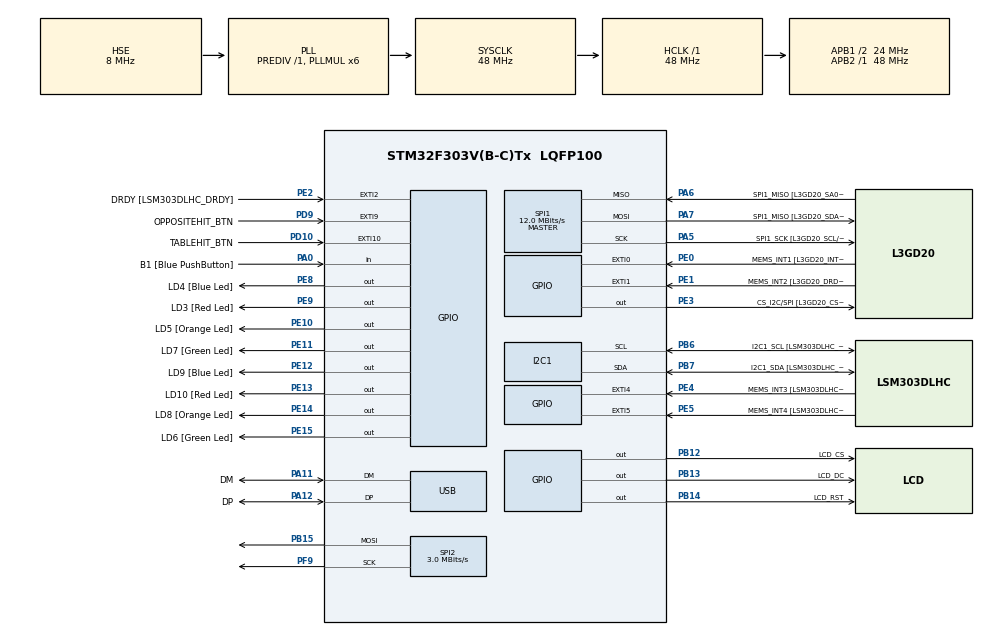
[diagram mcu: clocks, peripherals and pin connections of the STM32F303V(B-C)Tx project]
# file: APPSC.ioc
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Mcu.Family=STM32F3
Mcu.Name=STM32F303V(B-C)Tx
Mcu.Package=LQFP100
NVIC.EXTI15_10_IRQn=true\:0\:0\:false\:false\:true\:true\:true\:true
NVIC.EXTI9_5_IRQn=true\:0\:0\:false\:false\:true\:true\:true\:true
NVIC.PriorityGroup=NVIC_PRIORITYGROUP_0
NVIC.TIM1_BRK_TIM15_IRQn=true\:0\:0\:false\:false\:true\:true\:true\:true
NVIC.TIM1_CC_IRQn=true\:0\:0\:false\:false\:true\:true\:true\:true
NVIC.TIM1_TRG_COM_TIM17_IRQn=true\:0\:0\:false\:false\:true\:true\:true\:true
NVIC.TIM1_UP_TIM16_IRQn=true\:0\:0\:false\:false\:true\:true\:true\:true
PA0.GPIO_Label=B1 [Blue PushButton]
PA0.Signal=GPIO_Input
PA11.GPIO_Label=DM
PA11.Mode=Device
PA11.Signal=USB_DM
PA12.GPIO_Label=DP
PA12.Mode=Device
PA12.Signal=USB_DP
PA13.GPIO_Label=SWDIO
PA13.Mode=Serial_Wire
PA13.Signal=SYS_JTMS-SWDIO
PA14.GPIO_Label=SWCLK
PA14.Mode=Serial_Wire
PA14.Signal=SYS_JTCK-SWCLK
PA5.GPIO_Label=SPI1_SCK [L3GD20_SCL/SPC]
PA5.Mode=Full_Duplex_Master
PA5.Signal=SPI1_SCK
PA6.GPIO_Label=SPI1_MISO [L3GD20_SA0/SDO]
PA6.Mode=Full_Duplex_Master
PA6.Signal=SPI1_MISO
PA7.GPIO_Label=SPI1_MISO [L3GD20_SDA/SDI/SDO]
PA7.Mode=Full_Duplex_Master
PA7.Signal=SPI1_MOSI
PB12.GPIO_Label=LCD_CS
PB12.Signal=GPIO_Output
PB13.GPIO_Label=LCD_DC
PB13.Signal=GPIO_Output
PB14.GPIO_Label=LCD_RST
PB14.Signal=GPIO_Output
PB15.Mode=TX_Only_Simplex_Unidirect_Master
PB15.Signal=SPI2_MOSI
PB3.GPIO_Label=SWO
PB3.Signal=SYS_JTDO-TRACESWO
PB6.GPIO_Label=I2C1_SCL [LSM303DLHC_SCL]
PB6.GPIO_Pu=GPIO_PULLUP
PB6.Mode=I2C
PB6.Signal=I2C1_SCL
PB7.GPIO_Label=I2C1_SDA [LSM303DLHC_SDA]
PB7.GPIO_Pu=GPIO_PULLUP
PB7.Mode=I2C
PB7.Signal=I2C1_SDA
PC14-OSC32_IN.GPIO_Label=OSC32_IN
PC14-OSC32_IN.Signal=RCC_OSC32_IN
PC15-OSC32_OUT.GPIO_Label=OSC32_OUT
PC15-OSC32_OUT.Signal=RCC_OSC32_OUT
PD10.GPIO_Label=TABLEHIT_BTN
PD10.GPIO_ModeDefaultEXTI=GPIO_MODE_IT_FALLING
PD10.GPIO_PuPd=GPIO_PULLUP
PD10.Signal=GPXTI10
PD9.GPIO_Label=OPPOSITEHIT_BTN
PD9.GPIO_ModeDefaultEXTI=GPIO_MODE_IT_FALLING
PD9.GPIO_PuPd=GPIO_PULLUP
PD9.Signal=GPXTI9
PE0.GPIO_Label=MEMS_INT1 [L3GD20_INT1]
PE0.GPIO_ModeDefaultEXTI=GPIO_MODE_EVT_RISING
PE0.Signal=GPXTI0
PE1.GPIO_Label=MEMS_INT2 [L3GD20_DRDY/INT2]
PE1.GPIO_ModeDefaultEXTI=GPIO_MODE_EVT_RISING
PE1.Signal=GPXTI1
PE10.GPIO_Label=LD5 [Orange Led]
PE10.Signal=GPIO_Output
PE11.GPIO_Label=LD7 [Green Led]
PE11.Signal=GPIO_Output
PE12.GPIO_Label=LD9 [Blue Led]
PE12.Signal=GPIO_Output
PE13.GPIO_Label=LD10 [Red Led]
PE13.Signal=GPIO_Output
PE14.GPIO_Label=LD8 [Orange Led]
PE14.Signal=GPIO_Output
PE15.GPIO_Label=LD6 [Green Led]
PE15.Signal=GPIO_Output
PE2.GPIO_Label=DRDY [LSM303DLHC_DRDY]
PE2.GPIO_ModeDefaultEXTI=GPIO_MODE_EVT_RISING
PE2.Signal=GPXTI2
PE3.GPIO_Label=CS_I2C/SPI [L3GD20_CS_I2C/SPI]
PE3.Signal=GPIO_Output
PE4.GPIO_Label=MEMS_INT3 [LSM303DLHC_INT1]
PE4.GPIO_ModeDefaultEXTI=GPIO_MODE_EVT_RISING
PE4.Signal=GPXTI4
PE5.GPIO_Label=MEMS_INT4 [LSM303DLHC_INT2]
PE5.GPIO_ModeDefaultEXTI=GPIO_MODE_EVT_RISING
PE5.Signal=GPXTI5
PE8.GPIO_Label=LD4 [Blue Led]
PE8.Signal=GPIO_Output
PE9.GPIO_Label=LD3 [Red Led]
PE9.Signal=GPIO_Output
PF0-OSC_IN.GPIO_Label=OSC_IN
PF0-OSC_IN.Mode=HSE-External-Oscillator
PF0-OSC_IN.Signal=RCC_OSC_IN
PF1-OSC_OUT.GPIO_Label=OSC_OUT
PF1-OSC_OUT.Mode=HSE-External-Oscillator
PF1-OSC_OUT.Signal=RCC_OSC_OUT
PF9.Mode=TX_Only_Simplex_Unidirect_Master
PF9.Signal=SPI2_SCK
ProjectManager.HeapSize=0x200
ProjectManager.StackSize=0x400
ProjectManager.TargetToolchain=STM32CubeIDE
RCC.AHBFreq_Value=48000000
RCC.APB1CLKDivider=RCC_HCLK_DIV2
RCC.APB1Freq_Value=24000000
RCC.APB1TimFreq_Value=48000000
RCC.APB2Freq_Value=48000000
RCC.APB2TimFreq_Value=48000000
RCC.CortexFreq_Value=48000000
RCC.HCLKFreq_Value=48000000
RCC.HSE_VALUE=8000000
RCC.HSI_VALUE=8000000
RCC.LSE_VALUE=32768
RCC.PLLMUL=RCC_PLL_MUL6
RCC.SYSCLKFreq_VALUE=48000000
RCC.SYSCLKSourceVirtual=RCC_SYSCLKSOURCE_PLLCLK
RCC.USBFreq_Value=48000000
SPI1.BaudRatePrescaler=SPI_BAUDRATEPRESCALER_4
SPI1.CalculateBaudRate=12.0 MBits/s
SPI1.Direction=SPI_DIRECTION_2LINES
SPI1.Mode=SPI_MODE_MASTER
SPI1.VirtualType=VM_MASTER
SPI2.BaudRatePrescaler=SPI_BAUDRATEPRESCALER_8
SPI2.CalculateBaudRate=3.0 MBits/s
SPI2.DataSize=SPI_DATASIZE_8BIT
SPI2.Direction=SPI_DIRECTION_2LINES
SPI2.Mode=SPI_MODE_MASTER
SPI2.VirtualType=VM_MASTER
TIM1.Period=100
TIM1.Prescaler=30999
VP_TIM1_VS_ClockSourceINT.Mode=Internal
board=STM32F3DISCOVERY

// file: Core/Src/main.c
/* USER CODE BEGIN Header */
/**
 ******************************************************************************
 * @file           : main.c
 * @brief          : Main program body
 ******************************************************************************
 * @attention
 *
 * <h2><center>&copy; Copyright (c) 2019 STMicroelectronics.
 * All rights reserved.</center></h2>
 *
 * This software component is licensed by ST under BSD 3-Clause license,
 * the "License"; You may not use this file except in compliance with the
 * License. You may obtain a copy of the License at:
 *                        opensource.org/licenses/BSD-3-Clause
 *
 ******************************************************************************
 */
/* USER CODE END Header */
#include "main.h"
#include "i2c.h"
#include "spi.h"
#include "tim.h"
#include "usb.h"
#include "gpio.h"

/* USER CODE BEGIN Includes */
#include "lcd5110.h"
#include "stdbool.h"
/* USER CODE END Includes */

/* USER CODE BEGIN PTD */
typedef enum state_t {
	START, R_SERVE, L_SERVE, R_WAIT, L_WAIT, R_TURN, L_TURN, UNSURE, END
} state_t;
/* USER CODE END PTD */

/* USER CODE BEGIN PV */
volatile state_t state = START;
volatile state_t server;
volatile uint8_t l_score = 0;
volatile uint8_t r_score = 0;
volatile bool listening = true;
volatile bool deuce = false;
LCD5110_display lcd1;
/* USER CODE END PV */

void SystemClock_Config(void);

/* USER CODE BEGIN 0 */
void print_score(LCD5110_display *lcd_conf) {
	LCD5110_clear_scr(lcd_conf);
	LCD5110_set_cursor(1, 22, lcd_conf);
	LCD5110_printf(lcd_conf, BLACK, "L:%u", l_score);
	LCD5110_set_cursor(60, 22, lcd_conf);
	LCD5110_printf(lcd_conf, BLACK, "R:%u", r_score);
	if (deuce) {
		LCD5110_set_cursor(1, 40, lcd_conf);
		LCD5110_print("DEUCE", BLACK, lcd_conf);
	}
	LCD5110_refresh(lcd_conf);
}
void print_score_text(LCD5110_display *lcd_conf, const char *str) {
	print_score(lcd_conf);
	LCD5110_set_cursor(1, 40, lcd_conf);
	LCD5110_print(str, BLACK, lcd_conf);
	LCD5110_refresh(lcd_conf);
}

void update_score(state_t winner) {
	if (winner == L_SERVE) {
		l_score++;
		if (r_score == 10 && l_score == 10) {
			deuce = true;
		} else if ((l_score == 11 && !deuce)
				|| (l_score - r_score > 1 && deuce)) {
			print_score_text(&lcd1, "LEFT WON!");
			state = END;
		} else {
			print_score(&lcd1);
			if (((l_score + r_score) % 2 == 0 && !deuce) || deuce) {
				state = (server == R_SERVE) ? L_SERVE : R_SERVE;
			} else {
				state = server;
			}
			server = state;
		}
	} else if (winner == R_SERVE) {
		r_score++;
		if (r_score == 10 && l_score == 10) {
			deuce = true;
		} else if ((r_score == 11 && !deuce)
				|| (r_score - l_score > 1 && deuce)) {
			print_score_text(&lcd1, "RIGHT WON!");
			state = END;
		} else {
			print_score(&lcd1);
			if (((l_score + r_score) % 2 == 0 && !deuce) || deuce) {
				state = (server == R_SERVE) ? L_SERVE : R_SERVE;
			} else {
				state = server;
			}
			server = state;
		}
	}
}
/* USER CODE END 0 */

int main(void) {

	/* MCU Configuration--------------------------------------------------------*/

	/* Reset of all peripherals, Initializes the Flash interface and the Systick. */
	HAL_Init();

	/* Configure the system clock */
	SystemClock_Config();

	/* Initialize all configured peripherals */
	MX_GPIO_Init();
	MX_I2C1_Init();
	MX_SPI1_Init();
	MX_USB_PCD_Init();
	MX_SPI2_Init();
	MX_TIM1_Init();
	/* USER CODE BEGIN 2 */
	lcd1.hw_conf.spi_handle = &hspi2;
	lcd1.hw_conf.spi_cs_pin = LCD_CS_Pin;
	lcd1.hw_conf.spi_cs_port = LCD_CS_GPIO_Port;
	lcd1.hw_conf.rst_pin = LCD_RST_Pin;
	lcd1.hw_conf.rst_port = LCD_RST_GPIO_Port;
	lcd1.hw_conf.dc_pin = LCD_DC_Pin;
	lcd1.hw_conf.dc_port = LCD_DC_GPIO_Port;
	lcd1.def_scr = lcd5110_def_scr;
	LCD5110_init(&lcd1.hw_conf, LCD5110_NORMAL_MODE, 0x40, 2, 3);

	print_score_text(&lcd1, "SELECT PLAYER (L/R)\n");
	/* USER CODE END 2 */

	/* Infinite loop */
	while (1) {

	}
}

void SystemClock_Config(void) {
	RCC_OscInitTypeDef RCC_OscInitStruct = { 0 };
	RCC_ClkInitTypeDef RCC_ClkInitStruct = { 0 };
	RCC_PeriphCLKInitTypeDef PeriphClkInit = { 0 };

	/** Initializes the RCC Oscillators according to the specified parameters
	 * in the RCC_OscInitTypeDef structure.
	 */
	RCC_OscInitStruct.OscillatorType = RCC_OSCILLATORTYPE_HSI
			| RCC_OSCILLATORTYPE_HSE;
	RCC_OscInitStruct.HSEState = RCC_HSE_ON;
	RCC_OscInitStruct.HSEPredivValue = RCC_HSE_PREDIV_DIV1;
	RCC_OscInitStruct.HSIState = RCC_HSI_ON;
	RCC_OscInitStruct.HSICalibrationValue = RCC_HSICALIBRATION_DEFAULT;
	RCC_OscInitStruct.PLL.PLLState = RCC_PLL_ON;
	RCC_OscInitStruct.PLL.PLLSource = RCC_PLLSOURCE_HSE;
	RCC_OscInitStruct.PLL.PLLMUL = RCC_PLL_MUL6;
	if (HAL_RCC_OscConfig(&RCC_OscInitStruct) != HAL_OK) {
		Error_Handler();
	}

	/** Initializes the CPU, AHB and APB buses clocks
	 */
	RCC_ClkInitStruct.ClockType = RCC_CLOCKTYPE_HCLK | RCC_CLOCKTYPE_SYSCLK
			| RCC_CLOCKTYPE_PCLK1 | RCC_CLOCKTYPE_PCLK2;
	RCC_ClkInitStruct.SYSCLKSource = RCC_SYSCLKSOURCE_PLLCLK;
	RCC_ClkInitStruct.AHBCLKDivider = RCC_SYSCLK_DIV1;
	RCC_ClkInitStruct.APB1CLKDivider = RCC_HCLK_DIV2;
	RCC_ClkInitStruct.APB2CLKDivider = RCC_HCLK_DIV1;

	if (HAL_RCC_ClockConfig(&RCC_ClkInitStruct, FLASH_LATENCY_1) != HAL_OK) {
		Error_Handler();
	}
	PeriphClkInit.PeriphClockSelection = RCC_PERIPHCLK_USB | RCC_PERIPHCLK_I2C1
			| RCC_PERIPHCLK_TIM1;
	PeriphClkInit.I2c1ClockSelection = RCC_I2C1CLKSOURCE_HSI;
	PeriphClkInit.USBClockSelection = RCC_USBCLKSOURCE_PLL;
	PeriphClkInit.Tim1ClockSelection = RCC_TIM1CLK_HCLK;
	if (HAL_RCCEx_PeriphCLKConfig(&PeriphClkInit) != HAL_OK) {
		Error_Handler();
	}
}

/* USER CODE BEGIN 4 */
void HAL_GPIO_EXTI_Callback(uint16_t GPIO_Pin) {
	if (listening) {
		listening = false;
		HAL_TIM_Base_Start_IT(&htim1);
	}
}

void HAL_TIM_PeriodElapsedCallback(TIM_HandleTypeDef *htim) {
	LCD5110_set_cursor(0, 0, &lcd1);
	switch (state) {
	case START:
		LCD5110_print("START\n", BLACK, &lcd1);
		break;
	case L_SERVE:
		LCD5110_print("L_SERVE\n", BLACK, &lcd1);
		break;
	case R_SERVE:
		LCD5110_print("R_SERVE\n", BLACK, &lcd1);
		break;
	case L_WAIT:
		LCD5110_print("L_WAIT\n", BLACK, &lcd1);
		break;
	case R_WAIT:
		LCD5110_print("R_WAIT\n", BLACK, &lcd1);
		break;
	case L_TURN:
		LCD5110_print("L_TURN\n", BLACK, &lcd1);
		break;
	case R_TURN:
		LCD5110_print("R_TURN\n", BLACK, &lcd1);
		break;
	}
	// tablehit (left side)
	if (!listening) {
		listening = true;
		if (!HAL_GPIO_ReadPin(TABLEHIT_BTN_GPIO_Port, TABLEHIT_BTN_Pin)) {
			HAL_GPIO_WritePin(LD6_GPIO_Port, LD6_Pin, GPIO_PIN_SET);
			if (state == START) {
				state = L_SERVE;
				server = L_SERVE;
			} else if (state == L_SERVE) {
				state = L_WAIT;
			} else if (state == R_SERVE) {
				update_score(L_SERVE);
			} else if (state == L_WAIT) {
				update_score(R_SERVE);
			} else if (state == R_WAIT) {
				state = L_TURN;
			} else if (state == L_TURN) {
				update_score(R_SERVE);
			} else if (state == R_TURN) {
				state = L_TURN;
			};
			HAL_TIM_Base_Start_IT(&htim1);
		}
		// oppositehit (right side)
		else if (!HAL_GPIO_ReadPin(OPPOSITEHIT_BTN_GPIO_Port,
		OPPOSITEHIT_BTN_Pin)) {
			HAL_GPIO_WritePin(LD7_GPIO_Port, LD7_Pin, GPIO_PIN_SET);
			if (state == START) {
				state = R_SERVE;
				server = state;
			} else if (state == R_SERVE) {
				state = R_WAIT;
			} else if (state == L_SERVE) {
				update_score(R_SERVE);
			} else if (state == R_WAIT) {
				update_score(L_SERVE);
			} else if (state == L_WAIT) {
				state = R_TURN;
			} else if (state == R_TURN) {
				update_score(L_SERVE);
			} else if (state == L_TURN) {
				state = R_TURN;
			}
			HAL_TIM_Base_Start_IT(&htim1);
		}
	} else {
		HAL_GPIO_WritePin(LD7_GPIO_Port, LD7_Pin, GPIO_PIN_RESET);
		HAL_GPIO_WritePin(LD6_GPIO_Port, LD6_Pin, GPIO_PIN_RESET);
		HAL_TIM_Base_Stop_IT(&htim1);
	}
}
/* USER CODE END 4 */

void Error_Handler(void) {
}
